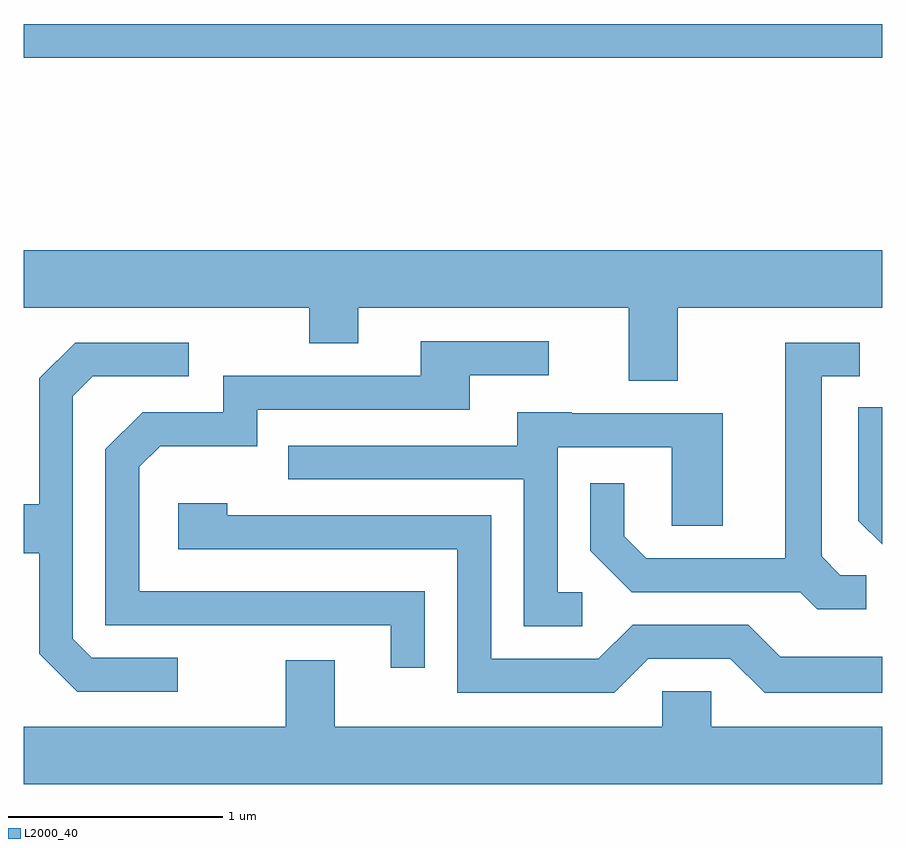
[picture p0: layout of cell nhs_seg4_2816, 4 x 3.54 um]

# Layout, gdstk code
import gdstk
lib = gdstk.Library(unit=1e-6, precision=1e-09)
def R(c, l, rs):  # rectangles x0, y0, x1, y1
    for r in rs: c.add(gdstk.rectangle(r[:2], r[2:], *l))
def P(c, l, *ps):  # polygons
    for p in ps: c.add(gdstk.Polygon(p, *l))
L2000_40 = (2000, 40)

nhs_seg4_2816 = lib.new_cell('nhs_seg4_2816')
R(nhs_seg4_2816, L2000_40, [(267.611,1313.661,271.611,1313.819)])
P(nhs_seg4_2816, L2000_40, [(270.659,1312.496),(271.611,1312.496),(271.611,1312.764),(267.611,1312.764),(267.611,1312.496),(268.941,1312.496),(268.941,1312.331),(269.169,1312.331),(269.169,1312.496),(270.431,1312.496),(270.431,1312.156),(270.659,1312.156)],
  [(269.479,1311.174),(268.149,1311.174),(268.149,1311.754),(268.247,1311.851),(268.699,1311.851),(268.699,1312.021),(269.689,1312.021),(269.689,1312.181),(270.058,1312.181),(270.058,1312.339),(269.461,1312.339),(269.461,1312.179),(268.541,1312.179),(268.541,1312.009),(268.164,1312.009),(267.991,1311.837),(267.991,1311.016),(269.321,1311.016),(269.321,1310.818),(269.479,1310.818)],
  [(268.328,1310.864),(267.927,1310.864),(267.839,1310.952),(267.839,1312.084),(267.932,1312.176),(268.378,1312.176),(268.378,1312.334),(267.849,1312.334),(267.681,1312.167),(267.681,1311.579),(267.611,1311.579),(267.611,1311.351),(267.681,1311.351),(267.681,1310.884),(267.859,1310.706),(268.328,1310.706)],
  [(271.538,1311.249),(271.417,1311.249),(271.329,1311.337),(271.329,1312.176),(271.508,1312.176),(271.508,1312.334),(271.161,1312.334),(271.161,1311.329),(270.512,1311.329),(270.409,1311.432),(270.409,1311.678),(270.251,1311.678),(270.251,1311.364),(270.444,1311.171),(271.229,1311.171),(271.309,1311.091),(271.538,1311.091)],
  [(271.611,1312.033),(271.501,1312.033),(271.501,1311.504),(271.611,1311.394)],
  [(270.213,1311.169),(270.099,1311.169),(270.099,1311.846),(270.631,1311.846),(270.631,1311.481),(270.869,1311.481),(270.869,1312.004),(270.165,1312.004),(270.165,1312.009),(269.911,1312.009),(269.911,1311.854),(268.843,1311.854),(268.843,1311.696),(269.941,1311.696),(269.941,1311.011),(270.213,1311.011)],
  [(270.522,1310.861),(270.904,1310.861),(271.064,1310.701),(271.611,1310.701),(271.611,1310.869),(271.137,1310.869),(270.987,1311.019),(270.449,1311.019),(270.289,1310.859),(269.789,1310.859),(269.789,1311.529),(268.559,1311.529),(268.559,1311.584),(268.331,1311.584),(268.331,1311.371),(269.631,1311.371),(269.631,1310.701),(270.362,1310.701)],
  [(271.611,1310.544),(270.814,1310.544),(270.814,1310.709),(270.586,1310.709),(270.586,1310.544),(269.059,1310.544),(269.059,1310.854),(268.831,1310.854),(268.831,1310.544),(267.611,1310.544),(267.611,1310.276),(271.611,1310.276)])

lib.write_gds('nhs_seg4_2816.gds')
